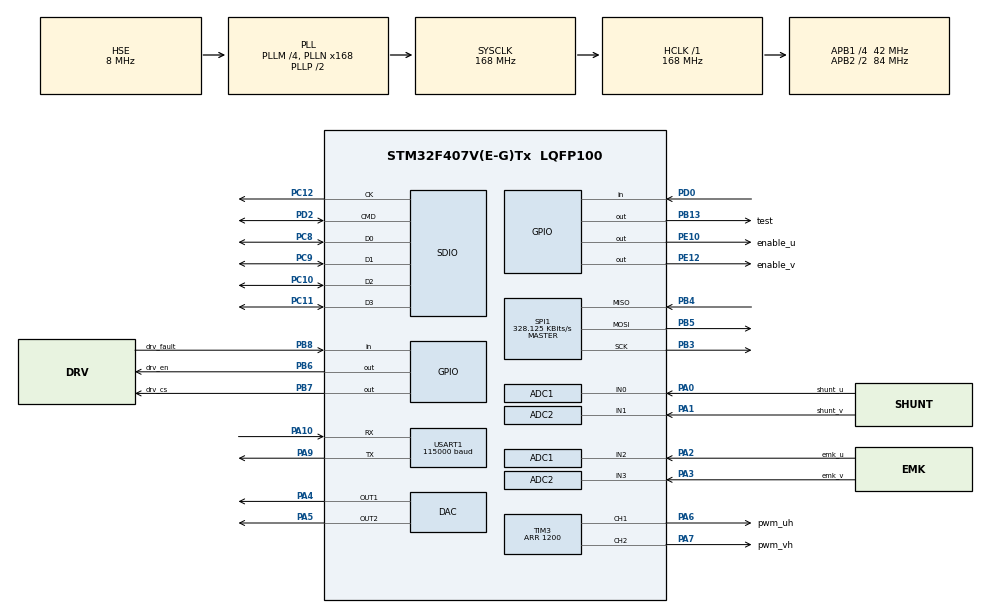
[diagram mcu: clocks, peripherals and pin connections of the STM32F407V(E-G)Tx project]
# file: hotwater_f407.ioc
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ADC1.Channel-2\#ChannelRegularConversion=ADC_CHANNEL_0
ADC1.Channel-3\#ChannelRegularConversion=ADC_CHANNEL_2
ADC1.ContinuousConvMode=DISABLE
ADC1.DMAContinuousRequests=ENABLE
ADC1.EOCSelection=ADC_EOC_SEQ_CONV
ADC1.ExternalTrigConv=ADC_EXTERNALTRIGCONV_T3_TRGO
ADC1.ExternalTrigConvEdge=ADC_EXTERNALTRIGCONVEDGE_RISINGFALLING
ADC1.Mode=__NULL
ADC1.NbrOfConversion=2
ADC1.NbrOfConversionFlag=1
ADC1.Rank-2\#ChannelRegularConversion=1
ADC1.Rank-3\#ChannelRegularConversion=2
ADC1.SamplingTime-2\#ChannelRegularConversion=ADC_SAMPLETIME_3CYCLES
ADC1.SamplingTime-3\#ChannelRegularConversion=ADC_SAMPLETIME_3CYCLES
ADC1.master=1
ADC2.Channel-1\#ChannelRegularConversion=ADC_CHANNEL_1
ADC2.Channel-2\#ChannelRegularConversion=ADC_CHANNEL_3
ADC2.DMAContinuousRequests=ENABLE
ADC2.EOCSelection=ADC_EOC_SEQ_CONV
ADC2.ExternalTrigConv=ADC_EXTERNALTRIGCONV_T3_TRGO
ADC2.ExternalTrigConvEdge=ADC_EXTERNALTRIGCONVEDGE_RISINGFALLING
ADC2.NbrOfConversion=2
ADC2.NbrOfConversionFlag=1
ADC2.Rank-1\#ChannelRegularConversion=1
ADC2.Rank-2\#ChannelRegularConversion=2
ADC2.SamplingTime-1\#ChannelRegularConversion=ADC_SAMPLETIME_3CYCLES
ADC2.SamplingTime-2\#ChannelRegularConversion=ADC_SAMPLETIME_3CYCLES
DAC.DAC_Trigger=DAC_TRIGGER_SOFTWARE
Dma.ADC1.5.Direction=DMA_PERIPH_TO_MEMORY
Dma.ADC1.5.FIFOMode=DMA_FIFOMODE_ENABLE
Dma.ADC1.5.FIFOThreshold=DMA_FIFO_THRESHOLD_FULL
Dma.ADC1.5.Instance=DMA2_Stream0
Dma.ADC1.5.MemBurst=DMA_MBURST_SINGLE
Dma.ADC1.5.MemDataAlignment=DMA_MDATAALIGN_HALFWORD
Dma.ADC1.5.MemInc=DMA_MINC_ENABLE
Dma.ADC1.5.Mode=DMA_CIRCULAR
Dma.ADC1.5.PeriphBurst=DMA_PBURST_SINGLE
Dma.ADC1.5.PeriphDataAlignment=DMA_PDATAALIGN_HALFWORD
Dma.ADC1.5.PeriphInc=DMA_PINC_DISABLE
Dma.ADC1.5.Priority=DMA_PRIORITY_HIGH
Dma.ADC2.6.Direction=DMA_PERIPH_TO_MEMORY
Dma.ADC2.6.FIFOMode=DMA_FIFOMODE_ENABLE
Dma.ADC2.6.FIFOThreshold=DMA_FIFO_THRESHOLD_FULL
Dma.ADC2.6.Instance=DMA2_Stream2
Dma.ADC2.6.MemBurst=DMA_MBURST_SINGLE
Dma.ADC2.6.MemDataAlignment=DMA_MDATAALIGN_HALFWORD
Dma.ADC2.6.MemInc=DMA_MINC_ENABLE
Dma.ADC2.6.Mode=DMA_CIRCULAR
Dma.ADC2.6.PeriphBurst=DMA_PBURST_SINGLE
Dma.ADC2.6.PeriphDataAlignment=DMA_PDATAALIGN_HALFWORD
Dma.ADC2.6.PeriphInc=DMA_PINC_DISABLE
Dma.ADC2.6.Priority=DMA_PRIORITY_HIGH
Dma.DAC1.0.Direction=DMA_MEMORY_TO_PERIPH
Dma.DAC1.0.FIFOMode=DMA_FIFOMODE_DISABLE
Dma.DAC1.0.Instance=DMA1_Stream5
Dma.DAC1.0.MemDataAlignment=DMA_MDATAALIGN_HALFWORD
Dma.DAC1.0.MemInc=DMA_MINC_ENABLE
Dma.DAC1.0.Mode=DMA_NORMAL
Dma.DAC1.0.PeriphDataAlignment=DMA_PDATAALIGN_HALFWORD
Dma.DAC1.0.PeriphInc=DMA_PINC_DISABLE
Dma.DAC1.0.Priority=DMA_PRIORITY_LOW
Dma.Request0=DAC1
Dma.Request1=USART1_RX
Dma.Request2=USART1_TX
Dma.Request3=SDIO_RX
Dma.Request4=SDIO_TX
Dma.Request5=ADC1
Dma.Request6=ADC2
Dma.SDIO_RX.3.Direction=DMA_PERIPH_TO_MEMORY
Dma.SDIO_RX.3.FIFOMode=DMA_FIFOMODE_ENABLE
Dma.SDIO_RX.3.FIFOThreshold=DMA_FIFO_THRESHOLD_FULL
Dma.SDIO_RX.3.Instance=DMA2_Stream3
Dma.SDIO_RX.3.MemBurst=DMA_MBURST_INC4
Dma.SDIO_RX.3.MemDataAlignment=DMA_MDATAALIGN_WORD
Dma.SDIO_RX.3.MemInc=DMA_MINC_ENABLE
Dma.SDIO_RX.3.Mode=DMA_PFCTRL
Dma.SDIO_RX.3.PeriphBurst=DMA_PBURST_INC4
Dma.SDIO_RX.3.PeriphDataAlignment=DMA_PDATAALIGN_WORD
Dma.SDIO_RX.3.PeriphInc=DMA_PINC_DISABLE
Dma.SDIO_RX.3.Priority=DMA_PRIORITY_LOW
Dma.SDIO_TX.4.Direction=DMA_MEMORY_TO_PERIPH
Dma.SDIO_TX.4.FIFOMode=DMA_FIFOMODE_ENABLE
Dma.SDIO_TX.4.FIFOThreshold=DMA_FIFO_THRESHOLD_FULL
Dma.SDIO_TX.4.Instance=DMA2_Stream6
Dma.SDIO_TX.4.MemBurst=DMA_MBURST_INC4
Dma.SDIO_TX.4.MemDataAlignment=DMA_MDATAALIGN_WORD
Dma.SDIO_TX.4.MemInc=DMA_MINC_ENABLE
Dma.SDIO_TX.4.Mode=DMA_PFCTRL
Dma.SDIO_TX.4.PeriphBurst=DMA_PBURST_INC4
Dma.SDIO_TX.4.PeriphDataAlignment=DMA_PDATAALIGN_WORD
Dma.SDIO_TX.4.PeriphInc=DMA_PINC_DISABLE
Dma.SDIO_TX.4.Priority=DMA_PRIORITY_LOW
Dma.USART1_RX.1.Direction=DMA_PERIPH_TO_MEMORY
Dma.USART1_RX.1.FIFOMode=DMA_FIFOMODE_ENABLE
Dma.USART1_RX.1.FIFOThreshold=DMA_FIFO_THRESHOLD_FULL
Dma.USART1_RX.1.Instance=DMA2_Stream5
Dma.USART1_RX.1.MemBurst=DMA_MBURST_SINGLE
Dma.USART1_RX.1.MemDataAlignment=DMA_MDATAALIGN_BYTE
Dma.USART1_RX.1.MemInc=DMA_MINC_ENABLE
Dma.USART1_RX.1.Mode=DMA_NORMAL
Dma.USART1_RX.1.PeriphBurst=DMA_PBURST_SINGLE
Dma.USART1_RX.1.PeriphDataAlignment=DMA_PDATAALIGN_BYTE
Dma.USART1_RX.1.PeriphInc=DMA_PINC_DISABLE
Dma.USART1_RX.1.Priority=DMA_PRIORITY_VERY_HIGH
Dma.USART1_TX.2.Direction=DMA_MEMORY_TO_PERIPH
Dma.USART1_TX.2.FIFOMode=DMA_FIFOMODE_ENABLE
Dma.USART1_TX.2.FIFOThreshold=DMA_FIFO_THRESHOLD_FULL
Dma.USART1_TX.2.Instance=DMA2_Stream7
Dma.USART1_TX.2.MemBurst=DMA_MBURST_SINGLE
Dma.USART1_TX.2.MemDataAlignment=DMA_MDATAALIGN_BYTE
Dma.USART1_TX.2.MemInc=DMA_MINC_ENABLE
Dma.USART1_TX.2.Mode=DMA_NORMAL
Dma.USART1_TX.2.PeriphBurst=DMA_PBURST_SINGLE
Dma.USART1_TX.2.PeriphDataAlignment=DMA_PDATAALIGN_BYTE
Dma.USART1_TX.2.PeriphInc=DMA_PINC_DISABLE
Dma.USART1_TX.2.Priority=DMA_PRIORITY_LOW
FATFS.BSP.number=1
FATFS._USE_MUTEX=1
FATFS0.BSP.STBoard=false
FATFS0.BSP.api=Unknown
FATFS0.BSP.i2caddr=0
FATFS0.BSP.instance=PD0
FATFS0.BSP.ip=GPIO
FATFS0.BSP.mode=Input
FATFS0.BSP.name=Detect_SDIO
FATFS0.BSP.solution=PD0
FREERTOS.BinarySemaphores01=myFlagNewString,Static,myFlagNewStringControlBlock;myFlagNewDMA,Static,myFlagNewDMAControlBlock
FREERTOS.CountingSemaphores01=myCountNewString,16,Static,myCountNewStringControlBlock;myCountNewCmd,16,Static,myCountNewCmdControlBlock
FREERTOS.Events01=myEventMCtask,Static,myEventMCtaskControlBlock;myEventTerminal,Static,myEventTerminalControlBlock
FREERTOS.HEAP_NUMBER=4
FREERTOS.Queues01=myTxQueue,1024,uint8_t,0,Static,myTxQueueBuffer,myTxQueueControlBlock;myRxQueue,64,uint8_t,0,Static,myRxQueueBuffer,myRxQueueControlBlock;myLineObjQueue,1,64,1,Static,myLineObjQueueBuffer,myLineObjQueueControlBlock;myCmdLineObjQueue,1,64,1,Static,myCmdLineObjQueueBuffer,myCmdLineObjQueueControlBlock;myLogLineObjQueue,16,64,1,Static,myLogLineObjQueueBuffer,myLogLineObjQueueControlBlock;mySDwriteBufferLineObjQueue,8,64,1,Static,mySDwriteBufferLineObjQueueBuffer,mySDwriteBufferLineObjQueueControlBlock
FREERTOS.Tasks01=defaultTask,8,128,StartDefaultTask,Default,NULL,Dynamic,NULL,NULL;myRxTask,8,128,StartRxTask,As external,NULL,Dynamic,NULL,NULL;myTxTask,8,128,StartTxTask,As external,NULL,Dynamic,NULL,NULL;myCmdTask,8,512,StartCmdTask,As external,NULL,Dynamic,NULL,NULL;myLogUartTask,8,512,StartLogUartTask,As external,NULL,Static,myLogUartTaskBuffer,myLogUartTaskControlBlock
FREERTOS.Timers01=myTimerMCtask,test,osTimerPeriodic,Default,NULL,Static,myTimerMCtaskControlBlock
FREERTOS.configCHECK_FOR_STACK_OVERFLOW=2
FREERTOS.configENABLE_FPU=1
FREERTOS.configGENERATE_RUN_TIME_STATS=1
FREERTOS.configRECORD_STACK_HIGH_ADDRESS=1
FREERTOS.configUSE_APPLICATION_TASK_TAG=1
FREERTOS.configUSE_DAEMON_TASK_STARTUP_HOOK=1
FREERTOS.configUSE_IDLE_HOOK=1
FREERTOS.configUSE_MALLOC_FAILED_HOOK=1
FREERTOS.configUSE_NEWLIB_REENTRANT=1
FREERTOS.configUSE_POSIX_ERRNO=1
FREERTOS.configUSE_STATS_FORMATTING_FUNCTIONS=1
FREERTOS.configUSE_TICKLESS_IDLE=0
FREERTOS.configUSE_TICK_HOOK=1
Mcu.Family=STM32F4
Mcu.Name=STM32F407V(E-G)Tx
Mcu.Package=LQFP100
NVIC.ADC_IRQn=true\:5\:0\:false\:false\:true\:true\:true\:true
NVIC.DMA1_Stream5_IRQn=true\:5\:0\:false\:false\:true\:true\:false\:true
NVIC.DMA2_Stream0_IRQn=true\:5\:0\:false\:false\:true\:true\:false\:true
NVIC.DMA2_Stream2_IRQn=true\:5\:0\:false\:false\:true\:true\:false\:true
NVIC.DMA2_Stream3_IRQn=true\:5\:0\:false\:false\:true\:true\:false\:true
NVIC.DMA2_Stream5_IRQn=true\:5\:0\:false\:false\:true\:true\:false\:true
NVIC.DMA2_Stream6_IRQn=true\:5\:0\:false\:false\:true\:true\:false\:true
NVIC.DMA2_Stream7_IRQn=true\:5\:0\:false\:false\:true\:true\:false\:true
NVIC.PriorityGroup=NVIC_PRIORITYGROUP_4
NVIC.SDIO_IRQn=true\:5\:0\:false\:false\:true\:true\:true\:true
NVIC.TIM6_DAC_IRQn=true\:5\:0\:false\:false\:true\:true\:true\:true
NVIC.TIM8_BRK_TIM12_IRQn=true\:15\:0\:false\:false\:true\:false\:false\:true
NVIC.TimeBase=TIM8_BRK_TIM12_IRQn
NVIC.TimeBaseIP=TIM12
NVIC.USART1_IRQn=true\:5\:0\:false\:false\:true\:true\:true\:true
PA0-WKUP.GPIO_Label=shunt_u
PA0-WKUP.Signal=ADCx_IN0
PA1.GPIO_Label=shunt_v
PA1.Signal=ADCx_IN1
PA10.Mode=Asynchronous
PA10.Signal=USART1_RX
PA13.Mode=Serial_Wire
PA13.Signal=SYS_JTMS-SWDIO
PA14.Mode=Serial_Wire
PA14.Signal=SYS_JTCK-SWCLK
PA2.GPIO_Label=emk_u
PA2.Signal=ADCx_IN2
PA3.GPIO_Label=emk_v
PA3.Signal=ADCx_IN3
PA4.Signal=COMP_DAC1_group
PA5.Signal=COMP_DAC2_group
PA6.GPIO_Label=pwm_uh
PA6.Signal=S_TIM3_CH1
PA7.GPIO_Label=pwm_vh
PA7.Signal=S_TIM3_CH2
PA9.Mode=Asynchronous
PA9.Signal=USART1_TX
PB13.GPIO_Label=test
PB13.Signal=GPIO_Output
PB3.Mode=Full_Duplex_Master
PB3.Signal=SPI1_SCK
PB4.Mode=Full_Duplex_Master
PB4.Signal=SPI1_MISO
PB5.Mode=Full_Duplex_Master
PB5.Signal=SPI1_MOSI
PB6.GPIO_Label=drv_en
PB6.Signal=GPIO_Output
PB7.GPIO_Label=drv_cs
PB7.Signal=GPIO_Output
PB8.GPIO_Label=drv_fault
PB8.Signal=GPIO_Input
PC10.Mode=SD_4_bits_Wide_bus
PC10.Signal=SDIO_D2
PC11.Mode=SD_4_bits_Wide_bus
PC11.Signal=SDIO_D3
PC12.Mode=SD_4_bits_Wide_bus
PC12.Signal=SDIO_CK
PC14-OSC32_IN.Mode=LSE-External-Oscillator
PC14-OSC32_IN.Signal=RCC_OSC32_IN
PC15-OSC32_OUT.Mode=LSE-External-Oscillator
PC15-OSC32_OUT.Signal=RCC_OSC32_OUT
PC8.Mode=SD_4_bits_Wide_bus
PC8.Signal=SDIO_D0
PC9.Mode=SD_4_bits_Wide_bus
PC9.Signal=SDIO_D1
PD0.GPIO_PuPd=GPIO_PULLDOWN
PD0.Signal=GPIO_Input
PD2.Mode=SD_4_bits_Wide_bus
PD2.Signal=SDIO_CMD
PE10.GPIO_Label=enable_u
PE10.Signal=GPIO_Output
PE12.GPIO_Label=enable_v
PE12.Signal=GPIO_Output
PH0-OSC_IN.Mode=HSE-External-Oscillator
PH0-OSC_IN.Signal=RCC_OSC_IN
PH1-OSC_OUT.Mode=HSE-External-Oscillator
PH1-OSC_OUT.Signal=RCC_OSC_OUT
ProjectManager.HeapSize=0x8000
ProjectManager.StackSize=0x400
ProjectManager.TargetToolchain=STM32CubeIDE
RCC.48MHZClocksFreq_Value=48000000
RCC.AHBFreq_Value=168000000
RCC.APB1CLKDivider=RCC_HCLK_DIV4
RCC.APB1Freq_Value=42000000
RCC.APB1TimFreq_Value=84000000
RCC.APB2CLKDivider=RCC_HCLK_DIV2
RCC.APB2Freq_Value=84000000
RCC.APB2TimFreq_Value=168000000
RCC.CortexFreq_Value=168000000
RCC.HCLKFreq_Value=168000000
RCC.HSE_VALUE=8000000
RCC.HSI_VALUE=16000000
RCC.PLLM=4
RCC.PLLN=168
RCC.PLLQ=7
RCC.PLLSourceVirtual=RCC_PLLSOURCE_HSE
RCC.RCC_RTC_Clock_Source=RCC_RTCCLKSOURCE_LSE
RCC.RCC_RTC_Clock_SourceVirtual=RCC_RTCCLKSOURCE_LSE
RCC.SYSCLKFreq_VALUE=168000000
RCC.SYSCLKSource=RCC_SYSCLKSOURCE_PLLCLK
RCC.VCOOutputFreq_Value=336000000
RTC.Date=15
RTC.Format=RTC_FORMAT_BIN
RTC.Hours=19
RTC.Minutes=16
RTC.Month=RTC_MONTH_NOVEMBER
RTC.WeekDay=RTC_WEEKDAY_SUNDAY
RTC.Year=20
SDIO.ClockDiv=0
SH.ADCx_IN0.0=ADC1_IN0,IN0
SH.ADCx_IN1.0=ADC2_IN1,IN1
SH.ADCx_IN2.0=ADC1_IN2,IN2
SH.ADCx_IN3.0=ADC2_IN3,IN3
SH.COMP_DAC1_group.0=DAC_OUT1,DAC_OUT1
SH.COMP_DAC2_group.0=DAC_OUT2,DAC_OUT2
SH.S_TIM3_CH1.0=TIM3_CH1,PWM Generation1 CH1
SH.S_TIM3_CH2.0=TIM3_CH2,PWM Generation2 CH2
SPI1.BaudRatePrescaler=SPI_BAUDRATEPRESCALER_256
SPI1.CLKPhase=SPI_PHASE_2EDGE
SPI1.CLKPolarity=SPI_POLARITY_LOW
SPI1.CalculateBaudRate=328.125 KBits/s
SPI1.DataSize=SPI_DATASIZE_16BIT
SPI1.Direction=SPI_DIRECTION_2LINES
SPI1.Mode=SPI_MODE_MASTER
SPI1.VirtualType=VM_MASTER
TIM3.AutoReloadPreload=TIM_AUTORELOAD_PRELOAD_ENABLE
TIM3.Channel-PWM\ Generation1\ CH1=TIM_CHANNEL_1
TIM3.Channel-PWM\ Generation2\ CH2=TIM_CHANNEL_2
TIM3.CounterMode=TIM_COUNTERMODE_CENTERALIGNED1
TIM3.OC1Preload_PWM=ENABLE
TIM3.OC2Preload_PWM=ENABLE
TIM3.OCMode_PWM-PWM\ Generation1\ CH1=TIM_OCMODE_PWM1
TIM3.OCMode_PWM-PWM\ Generation2\ CH2=TIM_OCMODE_PWM1
TIM3.Period=1200
TIM3.TIM_MasterOutputTrigger=TIM_TRGO_UPDATE
USART1.BaudRate=115000
USART1.VirtualMode=VM_ASYNC
VP_FATFS_VS_SDIO.Mode=SDIO
VP_FREERTOS_VS_CMSIS_V2.Mode=CMSIS_V2
VP_RTC_VS_RTC_Activate.Mode=RTC_Enabled
VP_RTC_VS_RTC_Calendar.Mode=RTC_Calendar
VP_SYS_VS_tim12.Mode=TIM12
VP_TIM3_VS_ClockSourceINT.Mode=Internal
board=custom

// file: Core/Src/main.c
/* USER CODE BEGIN Header */
/**
  ******************************************************************************
  * @file           : main.c
  * @brief          : Main program body
  ******************************************************************************
  * @attention
  *
  * <h2><center>&copy; Copyright (c) 2021 STMicroelectronics.
  * All rights reserved.</center></h2>
  *
  * This software component is licensed by ST under Ultimate Liberty license
  * SLA0044, the "License"; You may not use this file except in compliance with
  * the License. You may obtain a copy of the License at:
  *                             www.st.com/SLA0044
  *
  ******************************************************************************
  */
/* USER CODE END Header */
#include "main.h"
#include "cmsis_os.h"
#include "adc.h"
#include "dac.h"
#include "dma.h"
#include "fatfs.h"
#include "rtc.h"
#include "sdio.h"
#include "spi.h"
#include "tim.h"
#include "usart.h"
#include "gpio.h"

/* USER CODE BEGIN Includes */
#include "newCmdOrder.h"
/* USER CODE END Includes */

void SystemClock_Config(void);
void MX_FREERTOS_Init(void);

int main(void)
{

  /* MCU Configuration--------------------------------------------------------*/

  /* Reset of all peripherals, Initializes the Flash interface and the Systick. */
  HAL_Init();

  /* Configure the system clock */
  SystemClock_Config();

  /* Initialize all configured peripherals */
  MX_GPIO_Init();
  MX_DMA_Init();
  MX_RTC_Init();
  MX_USART1_UART_Init();
  MX_DAC_Init();
  MX_ADC1_Init();
  MX_SPI1_Init();
  MX_TIM3_Init();
  MX_SDIO_SD_Init();
  MX_FATFS_Init();
  MX_ADC2_Init();

  /* Init scheduler */
  osKernelInitialize();  /* Call init function for freertos objects (in freertos.c) */
  MX_FREERTOS_Init();
  /* Start scheduler */
  osKernelStart();

  /* We should never get here as control is now taken by the scheduler */
  /* Infinite loop */
  while (1)
  {

  }
}

void SystemClock_Config(void)
{
  RCC_OscInitTypeDef RCC_OscInitStruct = {0};
  RCC_ClkInitTypeDef RCC_ClkInitStruct = {0};

  /** Configure the main internal regulator output voltage
  */
  __HAL_RCC_PWR_CLK_ENABLE();
  __HAL_PWR_VOLTAGESCALING_CONFIG(PWR_REGULATOR_VOLTAGE_SCALE1);
  /** Initializes the RCC Oscillators according to the specified parameters
  * in the RCC_OscInitTypeDef structure.
  */
  RCC_OscInitStruct.OscillatorType = RCC_OSCILLATORTYPE_HSE|RCC_OSCILLATORTYPE_LSE;
  RCC_OscInitStruct.HSEState = RCC_HSE_ON;
  RCC_OscInitStruct.LSEState = RCC_LSE_ON;
  RCC_OscInitStruct.PLL.PLLState = RCC_PLL_ON;
  RCC_OscInitStruct.PLL.PLLSource = RCC_PLLSOURCE_HSE;
  RCC_OscInitStruct.PLL.PLLM = 4;
  RCC_OscInitStruct.PLL.PLLN = 168;
  RCC_OscInitStruct.PLL.PLLP = RCC_PLLP_DIV2;
  RCC_OscInitStruct.PLL.PLLQ = 7;
  if (HAL_RCC_OscConfig(&RCC_OscInitStruct) != HAL_OK)
  {
    Error_Handler();
  }
  /** Initializes the CPU, AHB and APB buses clocks
  */
  RCC_ClkInitStruct.ClockType = RCC_CLOCKTYPE_HCLK|RCC_CLOCKTYPE_SYSCLK
                              |RCC_CLOCKTYPE_PCLK1|RCC_CLOCKTYPE_PCLK2;
  RCC_ClkInitStruct.SYSCLKSource = RCC_SYSCLKSOURCE_PLLCLK;
  RCC_ClkInitStruct.AHBCLKDivider = RCC_SYSCLK_DIV1;
  RCC_ClkInitStruct.APB1CLKDivider = RCC_HCLK_DIV4;
  RCC_ClkInitStruct.APB2CLKDivider = RCC_HCLK_DIV2;

  if (HAL_RCC_ClockConfig(&RCC_ClkInitStruct, FLASH_LATENCY_5) != HAL_OK)
  {
    Error_Handler();
  }
}

void HAL_TIM_PeriodElapsedCallback(TIM_HandleTypeDef *htim)
{
  if (htim->Instance == TIM12) {
    HAL_IncTick();
  }
}

void Error_Handler(void)
{
  __disable_irq();
  while (1)
  {
  }
}

/************************ (C) COPYRIGHT STMicroelectronics *****END OF FILE****/

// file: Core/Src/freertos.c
/* USER CODE BEGIN Header */
/**
 ******************************************************************************
 * File Name          : freertos.c
 * Description        : Code for freertos applications
 ******************************************************************************
 * @attention
 *
 * <h2><center>&copy; Copyright (c) 2021 STMicroelectronics.
 * All rights reserved.</center></h2>
 *
 * This software component is licensed by ST under Ultimate Liberty license
 * SLA0044, the "License"; You may not use this file except in compliance with
 * the License. You may obtain a copy of the License at:
 *                             www.st.com/SLA0044
 *
 ******************************************************************************
 */
/* USER CODE END Header */

#include "FreeRTOS.h"
#include "task.h"
#include "main.h"
#include "cmsis_os.h"

/* USER CODE BEGIN Includes */
#include "terminal.h"
#include "queue.h"
#include "semphr.h"
#include "string.h"
#include "utils.h"
/*------------Motor Control-----------------*/
//#include "mc_task.h"
/*------------Propelli Base-----------------*/
#include "newCmdOrder.h"
#include "terminal.h"
#include "dbase.h"

/* USER CODE END Includes */

typedef StaticTask_t osStaticThreadDef_t;
typedef StaticQueue_t osStaticMessageQDef_t;
typedef StaticTimer_t osStaticTimerDef_t;
typedef StaticSemaphore_t osStaticSemaphoreDef_t;
typedef StaticEventGroup_t osStaticEventGroupDef_t;
/* USER CODE BEGIN PTD */
extern void term_lol_sendQueue(osMessageQueueId_t myTxQueueHandle);
extern void McTaskInit();
/* USER CODE END PTD */

/* USER CODE BEGIN Variables */
//uint8_t lReceivedValue[1];
/* USER CODE END Variables */
/* Definitions for defaultTask */
osThreadId_t defaultTaskHandle;
const osThreadAttr_t defaultTask_attributes = {
  .name = "defaultTask",
  .stack_size = 128 * 4,
  .priority = (osPriority_t) osPriorityLow,
};
/* Definitions for myRxTask */
osThreadId_t myRxTaskHandle;
const osThreadAttr_t myRxTask_attributes = {
  .name = "myRxTask",
  .stack_size = 128 * 4,
  .priority = (osPriority_t) osPriorityLow,
};
/* Definitions for myTxTask */
osThreadId_t myTxTaskHandle;
const osThreadAttr_t myTxTask_attributes = {
  .name = "myTxTask",
  .stack_size = 128 * 4,
  .priority = (osPriority_t) osPriorityLow,
};
/* Definitions for myCmdTask */
osThreadId_t myCmdTaskHandle;
const osThreadAttr_t myCmdTask_attributes = {
  .name = "myCmdTask",
  .stack_size = 512 * 4,
  .priority = (osPriority_t) osPriorityLow,
};
/* Definitions for myLogUartTask */
osThreadId_t myLogUartTaskHandle;
uint32_t myLogUartTaskBuffer[ 512 ];
osStaticThreadDef_t myLogUartTaskControlBlock;
const osThreadAttr_t myLogUartTask_attributes = {
  .name = "myLogUartTask",
  .cb_mem = &myLogUartTaskControlBlock,
  .cb_size = sizeof(myLogUartTaskControlBlock),
  .stack_mem = &myLogUartTaskBuffer[0],
  .stack_size = sizeof(myLogUartTaskBuffer),
  .priority = (osPriority_t) osPriorityLow,
};
/* Definitions for myTxQueue */
osMessageQueueId_t myTxQueueHandle;
uint8_t myTxQueueBuffer[ 1024 * sizeof( uint8_t ) ];
osStaticMessageQDef_t myTxQueueControlBlock;
const osMessageQueueAttr_t myTxQueue_attributes = {
  .name = "myTxQueue",
  .cb_mem = &myTxQueueControlBlock,
  .cb_size = sizeof(myTxQueueControlBlock),
  .mq_mem = &myTxQueueBuffer,
  .mq_size = sizeof(myTxQueueBuffer)
};
/* Definitions for myRxQueue */
osMessageQueueId_t myRxQueueHandle;
uint8_t myRxQueueBuffer[ 64 * sizeof( uint8_t ) ];
osStaticMessageQDef_t myRxQueueControlBlock;
const osMessageQueueAttr_t myRxQueue_attributes = {
  .name = "myRxQueue",
  .cb_mem = &myRxQueueControlBlock,
  .cb_size = sizeof(myRxQueueControlBlock),
  .mq_mem = &myRxQueueBuffer,
  .mq_size = sizeof(myRxQueueBuffer)
};
/* Definitions for myLineObjQueue */
osMessageQueueId_t myLineObjQueueHandle;
uint8_t myLineObjQueueBuffer[ 1 * 64 ];
osStaticMessageQDef_t myLineObjQueueControlBlock;
const osMessageQueueAttr_t myLineObjQueue_attributes = {
  .name = "myLineObjQueue",
  .cb_mem = &myLineObjQueueControlBlock,
  .cb_size = sizeof(myLineObjQueueControlBlock),
  .mq_mem = &myLineObjQueueBuffer,
  .mq_size = sizeof(myLineObjQueueBuffer)
};
/* Definitions for myCmdLineObjQueue */
osMessageQueueId_t myCmdLineObjQueueHandle;
uint8_t myCmdLineObjQueueBuffer[ 1 * 64 ];
osStaticMessageQDef_t myCmdLineObjQueueControlBlock;
const osMessageQueueAttr_t myCmdLineObjQueue_attributes = {
  .name = "myCmdLineObjQueue",
  .cb_mem = &myCmdLineObjQueueControlBlock,
  .cb_size = sizeof(myCmdLineObjQueueControlBlock),
  .mq_mem = &myCmdLineObjQueueBuffer,
  .mq_size = sizeof(myCmdLineObjQueueBuffer)
};
/* Definitions for myLogLineObjQueue */
osMessageQueueId_t myLogLineObjQueueHandle;
uint8_t myLogLineObjQueueBuffer[ 16 * 64 ];
osStaticMessageQDef_t myLogLineObjQueueControlBlock;
const osMessageQueueAttr_t myLogLineObjQueue_attributes = {
  .name = "myLogLineObjQueue",
  .cb_mem = &myLogLineObjQueueControlBlock,
  .cb_size = sizeof(myLogLineObjQueueControlBlock),
  .mq_mem = &myLogLineObjQueueBuffer,
  .mq_size = sizeof(myLogLineObjQueueBuffer)
};
/* Definitions for mySDwriteBufferLineObjQueue */
osMessageQueueId_t mySDwriteBufferLineObjQueueHandle;
uint8_t mySDwriteBufferLineObjQueueBuffer[ 8 * 64 ];
osStaticMessageQDef_t mySDwriteBufferLineObjQueueControlBlock;
const osMessageQueueAttr_t mySDwriteBufferLineObjQueue_attributes = {
  .name = "mySDwriteBufferLineObjQueue",
  .cb_mem = &mySDwriteBufferLineObjQueueControlBlock,
  .cb_size = sizeof(mySDwriteBufferLineObjQueueControlBlock),
  .mq_mem = &mySDwriteBufferLineObjQueueBuffer,
  .mq_size = sizeof(mySDwriteBufferLineObjQueueBuffer)
};
/* Definitions for myTimerMCtask */
osTimerId_t myTimerMCtaskHandle;
osStaticTimerDef_t myTimerMCtaskControlBlock;
const osTimerAttr_t myTimerMCtask_attributes = {
  .name = "myTimerMCtask",
  .cb_mem = &myTimerMCtaskControlBlock,
  .cb_size = sizeof(myTimerMCtaskControlBlock),
};
/* Definitions for myFlagNewString */
osSemaphoreId_t myFlagNewStringHandle;
osStaticSemaphoreDef_t myFlagNewStringControlBlock;
const osSemaphoreAttr_t myFlagNewString_attributes = {
  .name = "myFlagNewString",
  .cb_mem = &myFlagNewStringControlBlock,
  .cb_size = sizeof(myFlagNewStringControlBlock),
};
/* Definitions for myFlagNewDMA */
osSemaphoreId_t myFlagNewDMAHandle;
osStaticSemaphoreDef_t myFlagNewDMAControlBlock;
const osSemaphoreAttr_t myFlagNewDMA_attributes = {
  .name = "myFlagNewDMA",
  .cb_mem = &myFlagNewDMAControlBlock,
  .cb_size = sizeof(myFlagNewDMAControlBlock),
};
/* Definitions for myCountNewString */
osSemaphoreId_t myCountNewStringHandle;
osStaticSemaphoreDef_t myCountNewStringControlBlock;
const osSemaphoreAttr_t myCountNewString_attributes = {
  .name = "myCountNewString",
  .cb_mem = &myCountNewStringControlBlock,
  .cb_size = sizeof(myCountNewStringControlBlock),
};
/* Definitions for myCountNewCmd */
osSemaphoreId_t myCountNewCmdHandle;
osStaticSemaphoreDef_t myCountNewCmdControlBlock;
const osSemaphoreAttr_t myCountNewCmd_attributes = {
  .name = "myCountNewCmd",
  .cb_mem = &myCountNewCmdControlBlock,
  .cb_size = sizeof(myCountNewCmdControlBlock),
};
/* Definitions for myEventMCtask */
osEventFlagsId_t myEventMCtaskHandle;
osStaticEventGroupDef_t myEventMCtaskControlBlock;
const osEventFlagsAttr_t myEventMCtask_attributes = {
  .name = "myEventMCtask",
  .cb_mem = &myEventMCtaskControlBlock,
  .cb_size = sizeof(myEventMCtaskControlBlock),
};
/* Definitions for myEventTerminal */
osEventFlagsId_t myEventTerminalHandle;
osStaticEventGroupDef_t myEventTerminalControlBlock;
const osEventFlagsAttr_t myEventTerminal_attributes = {
  .name = "myEventTerminal",
  .cb_mem = &myEventTerminalControlBlock,
  .cb_size = sizeof(myEventTerminalControlBlock),
};

void StartDefaultTask(void *argument);
extern void StartRxTask(void *argument);
extern void StartTxTask(void *argument);
extern void StartCmdTask(void *argument);
extern void StartLogUartTask(void *argument);
void test(void *argument);

void MX_FREERTOS_Init(void); /* (MISRA C 2004 rule 8.1) */

/* Hook prototypes */
void configureTimerForRunTimeStats(void);
unsigned long getRunTimeCounterValue(void);
void vApplicationIdleHook(void);
void vApplicationTickHook(void);
void vApplicationStackOverflowHook(xTaskHandle xTask, signed char *pcTaskName);
void vApplicationMallocFailedHook(void);
void vApplicationDaemonTaskStartupHook(void);

/* USER CODE BEGIN 1 */
/* Functions needed when configGENERATE_RUN_TIME_STATS is on */
__weak void configureTimerForRunTimeStats(void)
    {

    }

__weak unsigned long getRunTimeCounterValue(void)
    {
    return 0;
    }
/* USER CODE END 1 */

/* USER CODE BEGIN 2 */
void vApplicationIdleHook(void)
    {
    /* vApplicationIdleHook() will only be called if configUSE_IDLE_HOOK is set
     to 1 in FreeRTOSConfig.h. It will be called on each iteration of the idle
     task. It is essential that code added to this hook function never attempts
     to block in any way (for example, call xQueueReceive() with a block time
     specified, or call vTaskDelay()). If the application makes use of the
     vTaskDelete() API function (as this demo application does) then it is also
     important that vApplicationIdleHook() is permitted to return to its calling
     function, because it is the responsibility of the idle task to clean up
     memory allocated by the kernel to any task that has since been deleted. */
    }
/* USER CODE END 2 */

/* USER CODE BEGIN 3 */
void vApplicationTickHook(void)
    {
    /* This function will be called by each tick interrupt if
     configUSE_TICK_HOOK is set to 1 in FreeRTOSConfig.h. User code can be
     added here, but the tick hook is called from an interrupt context, so
     code must not attempt to block, and only the interrupt safe FreeRTOS API
     functions can be used (those that end in FromISR()). */
    }
/* USER CODE END 3 */

/* USER CODE BEGIN 4 */
void vApplicationStackOverflowHook(xTaskHandle xTask, signed char *pcTaskName)
    {
    /* Run time stack overflow checking is performed if
     configCHECK_FOR_STACK_OVERFLOW is defined to 1 or 2. This hook function is
     called if a stack overflow is detected. */
    }
/* USER CODE END 4 */

/* USER CODE BEGIN 5 */
void vApplicationMallocFailedHook(void)
    {
    /* vApplicationMallocFailedHook() will only be called if
     configUSE_MALLOC_FAILED_HOOK is set to 1 in FreeRTOSConfig.h. It is a hook
     function that will get called if a call to pvPortMalloc() fails.
     pvPortMalloc() is called internally by the kernel whenever a task, queue,
     timer or semaphore is created. It is also called by various parts of the
     demo application. If heap_1.c or heap_2.c are used, then the size of the
     heap available to pvPortMalloc() is defined by configTOTAL_HEAP_SIZE in
     FreeRTOSConfig.h, and the xPortGetFreeHeapSize() API function can be used
     to query the size of free heap space that remains (although it does not
     provide information on how the remaining heap might be fragmented). */
    }
/* USER CODE END 5 */

/* USER CODE BEGIN DAEMON_TASK_STARTUP_HOOK */
void vApplicationDaemonTaskStartupHook(void)
    {
    }
/* USER CODE END DAEMON_TASK_STARTUP_HOOK */

void MX_FREERTOS_Init(void) {

  /* Create the semaphores(s) */
  /* creation of myFlagNewString */
  myFlagNewStringHandle = osSemaphoreNew(1, 1, &myFlagNewString_attributes);

  /* creation of myFlagNewDMA */
  myFlagNewDMAHandle = osSemaphoreNew(1, 1, &myFlagNewDMA_attributes);

  /* creation of myCountNewString */
  myCountNewStringHandle = osSemaphoreNew(16, 16, &myCountNewString_attributes);

  /* creation of myCountNewCmd */
  myCountNewCmdHandle = osSemaphoreNew(16, 16, &myCountNewCmd_attributes);

  /* Create the timer(s) */
  /* creation of myTimerMCtask */
  myTimerMCtaskHandle = osTimerNew(test, osTimerPeriodic, NULL, &myTimerMCtask_attributes);

  /* USER CODE BEGIN RTOS_TIMERS */
  xTimerStart(myTimerMCtaskHandle,10);
    /* start timers, add new ones, ... */

  /* USER CODE END RTOS_TIMERS */

  /* Create the queue(s) */
  /* creation of myTxQueue */
  myTxQueueHandle = osMessageQueueNew (1024, sizeof(uint8_t), &myTxQueue_attributes);

  /* creation of myRxQueue */
  myRxQueueHandle = osMessageQueueNew (64, sizeof(uint8_t), &myRxQueue_attributes);

  /* creation of myLineObjQueue */
  myLineObjQueueHandle = osMessageQueueNew (1, 64, &myLineObjQueue_attributes);

  /* creation of myCmdLineObjQueue */
  myCmdLineObjQueueHandle = osMessageQueueNew (1, 64, &myCmdLineObjQueue_attributes);

  /* creation of myLogLineObjQueue */
  myLogLineObjQueueHandle = osMessageQueueNew (16, 64, &myLogLineObjQueue_attributes);

  /* creation of mySDwriteBufferLineObjQueue */
  mySDwriteBufferLineObjQueueHandle = osMessageQueueNew (8, 64, &mySDwriteBufferLineObjQueue_attributes);

  /* Create the thread(s) */
  /* creation of defaultTask */
  defaultTaskHandle = osThreadNew(StartDefaultTask, NULL, &defaultTask_attributes);

  /* creation of myRxTask */
  myRxTaskHandle = osThreadNew(StartRxTask, NULL, &myRxTask_attributes);

  /* creation of myTxTask */
  myTxTaskHandle = osThreadNew(StartTxTask, NULL, &myTxTask_attributes);

  /* creation of myCmdTask */
  myCmdTaskHandle = osThreadNew(StartCmdTask, NULL, &myCmdTask_attributes);

  /* creation of myLogUartTask */
  myLogUartTaskHandle = osThreadNew(StartLogUartTask, NULL, &myLogUartTask_attributes);

  /* Create the event(s) */
  /* creation of myEventMCtask */
  myEventMCtaskHandle = osEventFlagsNew(&myEventMCtask_attributes);

  /* creation of myEventTerminal */
  myEventTerminalHandle = osEventFlagsNew(&myEventTerminal_attributes);

}

void StartDefaultTask(void *argument)
{
  /* USER CODE BEGIN StartDefaultTask */
  /* Infinite loop */
    McTaskInit();
    HAL_UART_Receive_DMA(&huart1, (uint8_t*) &readbyte, 1);
  for(;;)
  {

  }
  /* USER CODE END StartDefaultTask */
}

/* test function */
void test(void *argument)
{
}

/************************ (C) COPYRIGHT STMicroelectronics *****END OF FILE****/
